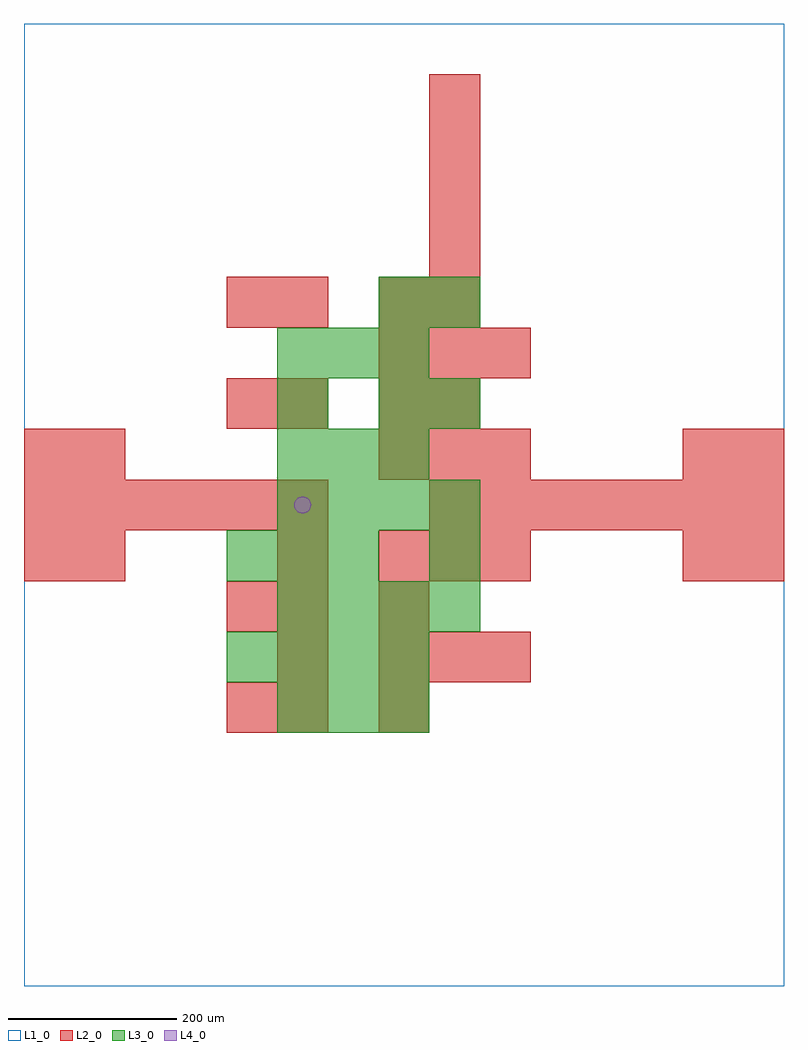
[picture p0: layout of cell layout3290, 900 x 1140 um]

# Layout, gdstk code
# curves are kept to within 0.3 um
import gdstk
lib = gdstk.Library(unit=1e-6, precision=1e-09)
def R(c, l, rs):  # rectangles x0, y0, x1, y1
    for r in rs: c.add(gdstk.rectangle(r[:2], r[2:], *l))
def A(c, l, x, y, w, h, nx, ny, dx, dy):  # array of equal rectangles
    R(c, l, [(x+i*dx, y+j*dy, x+i*dx+w, y+j*dy+h) for i in range(nx) for j in range(ny)])
def P(c, l, *ps):  # polygons
    for p in ps: c.add(gdstk.Polygon(p, *l))
L1_0 = (1, 0)
L2_0 = (2, 0)
L3_0 = (3, 0)
L4_0 = (4, 0)

layout3290 = lib.new_cell('layout3290')
R(layout3290, L1_0, [(0,0,900,1140)])
A(layout3290, L2_0, 300, 300, 60, 60, 1, 4, 0, 60)
A(layout3290, L2_0, 420, 360, 60, 60, 3, 4, 60, 120)
A(layout3290, L2_0, 0, 540, 60, 60, 6, 1, 60, 0)
A(layout3290, L2_0, 480, 540, 60, 60, 7, 1, 60, 0)
A(layout3290, L2_0, 480, 780, 60, 60, 1, 5, 0, 60)
R(layout3290, L2_0, [(240,300,300,360), (420,300,480,360), (240,420,300,480), (420,420,480,480), (0,480,60,540), (60,480,120,540), (780,480,840,540), (840,480,900,540), (0,600,60,660), (60,600,120,660), (780,600,840,660), (840,600,900,660), (240,660,300,720), (300,660,360,720), (420,660,480,720), (480,660,540,720), (240,780,300,840), (300,780,360,840), (420,780,480,840)])
A(layout3290, L3_0, 300, 300, 60, 60, 3, 2, 60, 300)
A(layout3290, L3_0, 240, 360, 60, 60, 4, 1, 60, 0)
A(layout3290, L3_0, 300, 420, 60, 60, 4, 2, 60, 120)
A(layout3290, L3_0, 240, 480, 60, 60, 3, 1, 60, 0)
A(layout3290, L3_0, 300, 720, 60, 60, 3, 1, 60, 0)
R(layout3290, L3_0, [(480,480,540,540), (300,660,360,720), (420,660,480,720), (480,660,540,720), (420,780,480,840), (480,780,540,840)])
P(layout3290, L4_0, [(340,570),(339.239,573.827),(337.071,577.071),(333.827,579.239),(330,580),(326.173,579.239),(322.929,577.071),(320.761,573.827),(320,570),(320.761,566.173),(322.929,562.929),(326.173,560.761),(330,560),(333.827,560.761),(337.071,562.929),(339.239,566.173)])

lib.write_gds('layout3290.gds')
